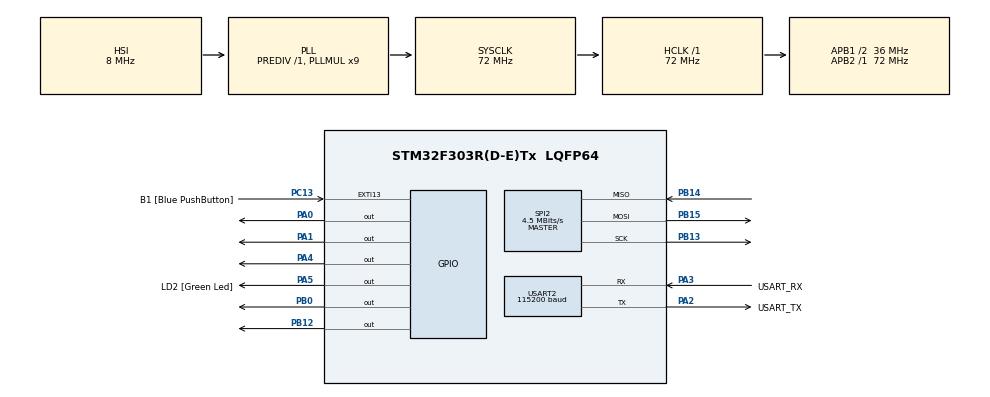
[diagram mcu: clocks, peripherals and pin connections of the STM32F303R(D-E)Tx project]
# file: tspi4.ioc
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Mcu.Family=STM32F3
Mcu.Name=STM32F303R(D-E)Tx
Mcu.Package=LQFP64
NVIC.PriorityGroup=NVIC_PRIORITYGROUP_0
PA0.Signal=GPIO_Output
PA1.Signal=GPIO_Output
PA13.GPIO_Label=TMS
PA13.Mode=Serial_Wire
PA13.Signal=SYS_JTMS-SWDIO
PA14.GPIO_Label=TCK
PA14.Mode=Serial_Wire
PA14.Signal=SYS_JTCK-SWCLK
PA2.GPIO_Label=USART_TX
PA2.GPIO_Mode=GPIO_MODE_AF_PP
PA2.GPIO_PuPd=GPIO_NOPULL
PA2.GPIO_Speed=GPIO_SPEED_FREQ_LOW
PA2.Mode=Asynchronous
PA2.Signal=USART2_TX
PA3.GPIO_Label=USART_RX
PA3.GPIO_Mode=GPIO_MODE_AF_PP
PA3.GPIO_PuPd=GPIO_NOPULL
PA3.GPIO_Speed=GPIO_SPEED_FREQ_LOW
PA3.Mode=Asynchronous
PA3.Signal=USART2_RX
PA4.Signal=GPIO_Output
PA5.GPIO_Label=LD2 [Green Led]
PA5.GPIO_Mode=GPIO_MODE_OUTPUT_PP
PA5.GPIO_PuPd=GPIO_NOPULL
PA5.GPIO_Speed=GPIO_SPEED_FREQ_LOW
PA5.Signal=GPIO_Output
PB0.Signal=GPIO_Output
PB12.Signal=GPIO_Output
PB13.Mode=Full_Duplex_Master
PB13.Signal=SPI2_SCK
PB14.Mode=Full_Duplex_Master
PB14.Signal=SPI2_MISO
PB15.Mode=Full_Duplex_Master
PB15.Signal=SPI2_MOSI
PB3.GPIO_Label=SWO
PB3.Signal=SYS_JTDO-TRACESWO
PC13.GPIO_Label=B1 [Blue PushButton]
PC13.GPIO_ModeDefaultEXTI=GPIO_MODE_IT_FALLING
PC13.Signal=GPXTI13
PC14-OSC32_IN.Mode=LSE-External-Oscillator
PC14-OSC32_IN.Signal=RCC_OSC32_IN
PC15-OSC32_OUT.Mode=LSE-External-Oscillator
PC15-OSC32_OUT.Signal=RCC_OSC32_OUT
PF0-OSC_IN.Mode=HSE-External-Clock-Source
PF0-OSC_IN.Signal=RCC_OSC_IN
PF1-OSC_OUT.Signal=RCC_OSC_OUT
ProjectManager.HeapSize=0x200
ProjectManager.StackSize=0x400
ProjectManager.TargetToolchain=TrueSTUDIO
RCC.AHBFreq_Value=72000000
RCC.APB1CLKDivider=RCC_HCLK_DIV2
RCC.APB1Freq_Value=36000000
RCC.APB1TimFreq_Value=72000000
RCC.APB2Freq_Value=72000000
RCC.APB2TimFreq_Value=72000000
RCC.CortexFreq_Value=72000000
RCC.HCLKFreq_Value=72000000
RCC.HSE_VALUE=8000000
RCC.HSI_VALUE=8000000
RCC.PLLM=8
RCC.PLLMUL=RCC_PLL_MUL9
RCC.PLLN=336
RCC.PLLP=RCC_PLLP_DIV4
RCC.PLLQ=7
RCC.RCC_PLLsource_Clock_Source_FROM_HSE=RCC_HSE_PREDIV_DIV2
RCC.SYSCLKFreq_VALUE=72000000
RCC.SYSCLKSourceVirtual=RCC_SYSCLKSOURCE_PLLCLK
RCC.USBFreq_Value=72000000
SPI2.BaudRatePrescaler=SPI_BAUDRATEPRESCALER_8
SPI2.CLKPhase=SPI_PHASE_2EDGE
SPI2.CLKPolarity=SPI_POLARITY_HIGH
SPI2.CalculateBaudRate=4.5 MBits/s
SPI2.DataSize=SPI_DATASIZE_8BIT
SPI2.Direction=SPI_DIRECTION_2LINES
SPI2.Mode=SPI_MODE_MASTER
SPI2.VirtualType=VM_MASTER
USART2.BaudRate=115200
USART2.VirtualMode-Asynchronous=VM_ASYNC
USART2.WordLength=WORDLENGTH_8B
board=NUCLEO-F303RE

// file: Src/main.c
	/**
  ******************************************************************************
  * @file           : main.c
  * @brief          : Main program body
  ******************************************************************************
  ** This notice applies to any and all portions of this file
  * that are not between comment pairs USER CODE BEGIN and
  * USER CODE END. Other portions of this file, whether
  * inserted by the user or by software development tools
  * are owned by their respective copyright owners.
  *
  * COPYRIGHT(c) 2026 STMicroelectronics
  *
  * Redistribution and use in source and binary forms, with or without modification,
  * are permitted provided that the following conditions are met:
  *   1. Redistributions of source code must retain the above copyright notice,
  *      this list of conditions and the following disclaimer.
  *   2. Redistributions in binary form must reproduce the above copyright notice,
  *      this list of conditions and the following disclaimer in the documentation
  *      and/or other materials provided with the distribution.
  *   3. Neither the name of STMicroelectronics nor the names of its contributors
  *      may be used to endorse or promote products derived from this software
  *      without specific prior written permission.
  *
  * THIS SOFTWARE IS PROVIDED BY THE COPYRIGHT HOLDERS AND CONTRIBUTORS "AS IS"
  * AND ANY EXPRESS OR IMPLIED WARRANTIES, INCLUDING, BUT NOT LIMITED TO, THE
  * IMPLIED WARRANTIES OF MERCHANTABILITY AND FITNESS FOR A PARTICULAR PURPOSE ARE
  * DISCLAIMED. IN NO EVENT SHALL THE COPYRIGHT HOLDER OR CONTRIBUTORS BE LIABLE
  * FOR ANY DIRECT, INDIRECT, INCIDENTAL, SPECIAL, EXEMPLARY, OR CONSEQUENTIAL
  * DAMAGES (INCLUDING, BUT NOT LIMITED TO, PROCUREMENT OF SUBSTITUTE GOODS OR
  * SERVICES; LOSS OF USE, DATA, OR PROFITS; OR BUSINESS INTERRUPTION) HOWEVER
  * CAUSED AND ON ANY THEORY OF LIABILITY, WHETHER IN CONTRACT, STRICT LIABILITY,
  * OR TORT (INCLUDING NEGLIGENCE OR OTHERWISE) ARISING IN ANY WAY OUT OF THE USE
  * OF THIS SOFTWARE, EVEN IF ADVISED OF THE POSSIBILITY OF SUCH DAMAGE.
  *
  ******************************************************************************
  */
#include "main.h"
#include "stm32f3xx_hal.h"

/* USER CODE BEGIN Includes */
#include <stdio.h>
#include <string.h>
/* USER CODE END Includes */

SPI_HandleTypeDef hspi2;

UART_HandleTypeDef huart2;

/* USER CODE BEGIN PV */
/* Private variables ---------------------------------------------------------*/
#define ADXL345_CS_PORT GPIOB
#define ADXL345_CS_PIN  GPIO_PIN_12
#define ADXL345_CS_LOW()  HAL_GPIO_WritePin(ADXL345_CS_PORT, ADXL345_CS_PIN, GPIO_PIN_RESET)
#define ADXL345_CS_HIGH() HAL_GPIO_WritePin(ADXL345_CS_PORT, ADXL345_CS_PIN, GPIO_PIN_SET)
#define DELAY 50
/* USER CODE END PV */

void SystemClock_Config(void);
static void MX_GPIO_Init(void);
static void MX_USART2_UART_Init(void);
static void MX_SPI2_Init(void);

/* USER CODE BEGIN PFP */
/* Private function prototypes -----------------------------------------------*/

/* USER CODE END PFP */

/* USER CODE BEGIN 0 */

void Debug_SprintfExample(int16_t x, int16_t y, int16_t z) {
    char buf[64];

    sprintf(buf, "[DATA] raw X=%6d Y=%6d Z=%6d\r\n", x, y, z);
    HAL_UART_Transmit(&huart2, (uint8_t *)buf, strlen(buf),  DELAY);

}

void ADXL345_WriteReg(uint8_t reg, uint8_t data) {
    uint8_t tx_buf[2];
    tx_buf[0] = reg & 0x3F; /* 確保 bit7(Read) 為 0, bit6(MB) 為 0 */
    tx_buf[1] = data;

    ADXL345_CS_LOW();
    HAL_SPI_Transmit(&hspi2, tx_buf, 2, 50);
    ADXL345_CS_HIGH();
}

uint8_t ADXL345_ReadReg(uint8_t reg) {
    uint8_t tx_buf[2];
    uint8_t rx_buf[2] = {0};

    tx_buf[0] = reg | 0x80; /* 設定 bit7 為 1 (Read 模式) */
    tx_buf[1] = 0x00;       /* Dummy byte，用來產生接收資料的時鐘 */

    ADXL345_CS_LOW();
    /* 使用 TransmitReceive 確保全雙工時序同步 */
    HAL_SPI_TransmitReceive(&hspi2, tx_buf, rx_buf, 2, 50);
    ADXL345_CS_HIGH();

    return rx_buf[1]; /* 陣列索引 1 為感測器回傳的資料 */
}
void ADXL345_ReadMulti(uint8_t reg, uint8_t *buf, uint8_t len) {
    uint8_t tx_buf[len + 1];
    uint8_t rx_buf[len + 1];

    memset(tx_buf, 0x00, sizeof(tx_buf));
    memset(rx_buf, 0x00, sizeof(rx_buf));

    tx_buf[0] = reg | 0xC0;  /* bit7=1(Read), bit6=1(Multi) */
    /* tx_buf[1..len] 維持 0x00 作為 dummy bytes */

    ADXL345_CS_LOW();
    HAL_SPI_TransmitReceive(&hspi2, tx_buf, rx_buf, len + 1, DELAY);
    ADXL345_CS_HIGH();

    /* rx_buf[0] 是命令階段的垃圾，真實資料從 index 1 開始 */
    memcpy(buf, &rx_buf[1], len);
}

void ADXL345_ReadXYZ(int16_t *x, int16_t *y, int16_t *z) {
    uint8_t raw[6];
    // 從 0x32 讀 6 bytes（DATAX0~DATAZ1）
    ADXL345_ReadMulti(0x32, raw, 6);

    *x = (int16_t)((raw[1] << 8) | raw[0]);
    *y = (int16_t)((raw[3] << 8) | raw[2]);
    *z = (int16_t)((raw[5] << 8) | raw[4]);
}
void Test_ADXL345_ID(void) {
    char buf[60] = {0};
    uint8_t id = 0;

    /* 確保 CS 初始為 High */
    ADXL345_CS_HIGH();
    HAL_Delay(10);

    /* 連續讀取 5 次 Device ID (0x00) 驗證穩定性 */
    for (uint8_t i = 1; i <= 5; i++) {
        id = ADXL345_ReadReg(0x00);
        sprintf(buf, "[DEBUG] 4-Wire ADXL345 ID %d/5: 0x%02X\r\n", i, id);
        HAL_UART_Transmit(&huart2, (uint8_t *)buf, strlen(buf), 100);
        HAL_Delay(100);
    }

    /* 判斷最後一次讀取結果決定是否初始化 */
    if (id == 0xE5) {
        sprintf(buf, "[INFO] ID Correct. Initializing...\r\n");
        HAL_UART_Transmit(&huart2, (uint8_t *)buf, strlen(buf), 100);

        /* DATA_FORMAT: 4-wire SPI (預設), ±2g, FULL_RES */
        ADXL345_WriteReg(0x31, 0x0B);
        /* BW_RATE: 100Hz */
        ADXL345_WriteReg(0x2C, 0x0A);
        /* POWER_CTL: Measure mode */
        ADXL345_WriteReg(0x2D, 0x08);

        sprintf(buf, "[INFO] ADXL345 Init Done.\r\n");
        HAL_UART_Transmit(&huart2, (uint8_t *)buf, strlen(buf), 100);
    } else {
        sprintf(buf, "[FATAL] ID Error. Init Aborted.\r\n");
        HAL_UART_Transmit(&huart2, (uint8_t *)buf, strlen(buf), 100);
    }
}
void Debug_PrintXYZ(int16_t x, int16_t y, int16_t z) {
    char buf[100] = {0};

    /* 原始值輸出 */
    sprintf(buf, "[RAW]  X=%6d  Y=%6d  Z=%6d\r\n", x, y, z);
    HAL_UART_Transmit(&huart2, (uint8_t *)buf, strlen(buf), DELAY);

    /* 3.9mg/LSB */
    int32_t gx_01mg = (int32_t)x * 39;
    int32_t gy_01mg = (int32_t)y * 39;
    int32_t gz_01mg = (int32_t)z * 39;

    char sx = (gx_01mg < 0) ? '-' : '+';
    char sy = (gy_01mg < 0) ? '-' : '+';
    char sz = (gz_01mg < 0) ? '-' : '+';

    uint32_t ax = (gx_01mg < 0) ? -gx_01mg : gx_01mg;
    uint32_t ay = (gy_01mg < 0) ? -gy_01mg : gy_01mg;
    uint32_t az = (gz_01mg < 0) ? -gz_01mg : gz_01mg;

    int32_t gx_val = ((int32_t)x * 39) / 100;
    int32_t gy_val = ((int32_t)y * 39) / 100;
    int32_t gz_val = ((int32_t)z * 39) / 100;

    /* 2. 判斷正負號 */
    char sx2 = (gx_val < 0) ? '-' : '+';
    char sy2 = (gy_val < 0) ? '-' : '+';
    char sz2 = (gz_val < 0) ? '-' : '+';

    /* 3. 取絕對值，轉為無號數 */
    uint32_t ax2 = (gx_val < 0) ? -gx_val : gx_val;
    uint32_t ay2 = (gy_val < 0) ? -gy_val : gy_val;
    uint32_t az2 = (gz_val < 0) ? -gz_val : gz_val;

    /* ax / 10 取出 mg 整數部分，ax % 10 取出小數點後第一位 */
    sprintf(buf, "[G]    X=%c%lu.%lu mg  Y=%c%lu.%lu mg  Z=%c%lu.%lu mg\r\n",
            sx, ax / 10, ax % 10,
            sy, ay / 10, ay % 10,
            sz, az / 10, az % 10);
    HAL_UART_Transmit(&huart2, (uint8_t *)buf, strlen(buf), DELAY);
    sprintf(buf, "[G]    X=%c%lu.%02lu g  Y=%c%lu.%02lu g  Z=%c%lu.%02lu g\r\n",
                sx2, ax2 / 100, ax2 % 100,
                sy2, ay2 / 100, ay2 % 100,
                sz2, az2 / 100, az2 % 100);
    HAL_UART_Transmit(&huart2, (uint8_t *)buf, strlen(buf), DELAY);

}
/* USER CODE END 0 */

int main(void)
{

  /* MCU Configuration----------------------------------------------------------*/

  /* Reset of all peripherals, Initializes the Flash interface and the Systick. */
  HAL_Init();

  /* Configure the system clock */
  SystemClock_Config();

  /* Initialize all configured peripherals */
  MX_GPIO_Init();
  MX_USART2_UART_Init();
  MX_SPI2_Init();
  /* USER CODE BEGIN 2 */
  Test_ADXL345_ID();
  /* USER CODE END 2 */
  int16_t ax, ay, az;
  uint32_t count = 0;
  /* Infinite loop */
  while (1)
  {

  /* USER CODE BEGIN 3 */
	  	  ADXL345_ReadXYZ(&ax, &ay, &az);
	  	  Debug_SprintfExample(ax, ay, az);

	  	  Debug_PrintXYZ(ax, ay, az);

	  	  count++;
	  	  if (count % 50 == 0) {
	  	     char buf[40];
	  	     sprintf(buf, "[INFO] %lu samples done\r\n", count);
	  	     HAL_UART_Transmit(&huart2, (uint8_t *)buf, strlen(buf), DELAY);
	  	  }

	  	     HAL_Delay(10);
	  	  }

  /* USER CODE END 3 */

}

void SystemClock_Config(void)
{

  RCC_OscInitTypeDef RCC_OscInitStruct;
  RCC_ClkInitTypeDef RCC_ClkInitStruct;
  RCC_PeriphCLKInitTypeDef PeriphClkInit;

    /**Initializes the CPU, AHB and APB busses clocks
    */
  RCC_OscInitStruct.OscillatorType = RCC_OSCILLATORTYPE_HSI;
  RCC_OscInitStruct.HSIState = RCC_HSI_ON;
  RCC_OscInitStruct.HSICalibrationValue = 16;
  RCC_OscInitStruct.PLL.PLLState = RCC_PLL_ON;
  RCC_OscInitStruct.PLL.PLLSource = RCC_PLLSOURCE_HSI;
  RCC_OscInitStruct.PLL.PLLMUL = RCC_PLL_MUL9;
  RCC_OscInitStruct.PLL.PREDIV = RCC_PREDIV_DIV1;
  if (HAL_RCC_OscConfig(&RCC_OscInitStruct) != HAL_OK)
  {
    _Error_Handler(__FILE__, __LINE__);
  }

    /**Initializes the CPU, AHB and APB busses clocks
    */
  RCC_ClkInitStruct.ClockType = RCC_CLOCKTYPE_HCLK|RCC_CLOCKTYPE_SYSCLK
                              |RCC_CLOCKTYPE_PCLK1|RCC_CLOCKTYPE_PCLK2;
  RCC_ClkInitStruct.SYSCLKSource = RCC_SYSCLKSOURCE_PLLCLK;
  RCC_ClkInitStruct.AHBCLKDivider = RCC_SYSCLK_DIV1;
  RCC_ClkInitStruct.APB1CLKDivider = RCC_HCLK_DIV2;
  RCC_ClkInitStruct.APB2CLKDivider = RCC_HCLK_DIV1;

  if (HAL_RCC_ClockConfig(&RCC_ClkInitStruct, FLASH_LATENCY_2) != HAL_OK)
  {
    _Error_Handler(__FILE__, __LINE__);
  }

  PeriphClkInit.PeriphClockSelection = RCC_PERIPHCLK_USART2;
  PeriphClkInit.Usart2ClockSelection = RCC_USART2CLKSOURCE_PCLK1;
  if (HAL_RCCEx_PeriphCLKConfig(&PeriphClkInit) != HAL_OK)
  {
    _Error_Handler(__FILE__, __LINE__);
  }

    /**Configure the Systick interrupt time
    */
  HAL_SYSTICK_Config(HAL_RCC_GetHCLKFreq()/1000);

    /**Configure the Systick
    */
  HAL_SYSTICK_CLKSourceConfig(SYSTICK_CLKSOURCE_HCLK);

  /* SysTick_IRQn interrupt configuration */
  HAL_NVIC_SetPriority(SysTick_IRQn, 0, 0);
}

/* SPI2 init function */
static void MX_SPI2_Init(void)
{

  /* SPI2 parameter configuration*/
  hspi2.Instance = SPI2;
  hspi2.Init.Mode = SPI_MODE_MASTER;
  hspi2.Init.Direction = SPI_DIRECTION_2LINES;
  hspi2.Init.DataSize = SPI_DATASIZE_8BIT;
  hspi2.Init.CLKPolarity = SPI_POLARITY_HIGH;
  hspi2.Init.CLKPhase = SPI_PHASE_2EDGE;
  hspi2.Init.NSS = SPI_NSS_SOFT;
  hspi2.Init.BaudRatePrescaler = SPI_BAUDRATEPRESCALER_8;
  hspi2.Init.FirstBit = SPI_FIRSTBIT_MSB;
  hspi2.Init.TIMode = SPI_TIMODE_DISABLE;
  hspi2.Init.CRCCalculation = SPI_CRCCALCULATION_DISABLE;
  hspi2.Init.CRCPolynomial = 7;
  hspi2.Init.CRCLength = SPI_CRC_LENGTH_DATASIZE;
  hspi2.Init.NSSPMode = SPI_NSS_PULSE_DISABLE;
  if (HAL_SPI_Init(&hspi2) != HAL_OK)
  {
    _Error_Handler(__FILE__, __LINE__);
  }

}

/* USART2 init function */
static void MX_USART2_UART_Init(void)
{

  huart2.Instance = USART2;
  huart2.Init.BaudRate = 115200;
  huart2.Init.WordLength = UART_WORDLENGTH_8B;
  huart2.Init.StopBits = UART_STOPBITS_1;
  huart2.Init.Parity = UART_PARITY_NONE;
  huart2.Init.Mode = UART_MODE_TX_RX;
  huart2.Init.HwFlowCtl = UART_HWCONTROL_NONE;
  huart2.Init.OverSampling = UART_OVERSAMPLING_16;
  huart2.Init.OneBitSampling = UART_ONE_BIT_SAMPLE_DISABLE;
  huart2.AdvancedInit.AdvFeatureInit = UART_ADVFEATURE_NO_INIT;
  if (HAL_UART_Init(&huart2) != HAL_OK)
  {
    _Error_Handler(__FILE__, __LINE__);
  }

}

/** Configure pins as
        * Analog
        * Input
        * Output
        * EVENT_OUT
        * EXTI
*/
static void MX_GPIO_Init(void)
{

  GPIO_InitTypeDef GPIO_InitStruct;

  /* GPIO Ports Clock Enable */
  __HAL_RCC_GPIOC_CLK_ENABLE();
  __HAL_RCC_GPIOF_CLK_ENABLE();
  __HAL_RCC_GPIOA_CLK_ENABLE();
  __HAL_RCC_GPIOB_CLK_ENABLE();

  /*Configure GPIO pin Output Level */
  HAL_GPIO_WritePin(GPIOA, GPIO_PIN_0|GPIO_PIN_1|GPIO_PIN_4|LD2_Pin, GPIO_PIN_RESET);

  /*Configure GPIO pin Output Level */
  HAL_GPIO_WritePin(GPIOB, GPIO_PIN_0|GPIO_PIN_12, GPIO_PIN_RESET);

  /*Configure GPIO pin : B1_Pin */
  GPIO_InitStruct.Pin = B1_Pin;
  GPIO_InitStruct.Mode = GPIO_MODE_IT_FALLING;
  GPIO_InitStruct.Pull = GPIO_NOPULL;
  HAL_GPIO_Init(B1_GPIO_Port, &GPIO_InitStruct);

  /*Configure GPIO pins : PA0 PA1 PA4 LD2_Pin */
  GPIO_InitStruct.Pin = GPIO_PIN_0|GPIO_PIN_1|GPIO_PIN_4|LD2_Pin;
  GPIO_InitStruct.Mode = GPIO_MODE_OUTPUT_PP;
  GPIO_InitStruct.Pull = GPIO_NOPULL;
  GPIO_InitStruct.Speed = GPIO_SPEED_FREQ_LOW;
  HAL_GPIO_Init(GPIOA, &GPIO_InitStruct);

  /*Configure GPIO pins : PB0 PB12 */
  GPIO_InitStruct.Pin = GPIO_PIN_0|GPIO_PIN_12;
  GPIO_InitStruct.Mode = GPIO_MODE_OUTPUT_PP;
  GPIO_InitStruct.Pull = GPIO_NOPULL;
  GPIO_InitStruct.Speed = GPIO_SPEED_FREQ_LOW;
  HAL_GPIO_Init(GPIOB, &GPIO_InitStruct);

}

void _Error_Handler(char *file, int line)
{
  while(1)
  {
  }
}

/************************ (C) COPYRIGHT STMicroelectronics *****END OF FILE****/
